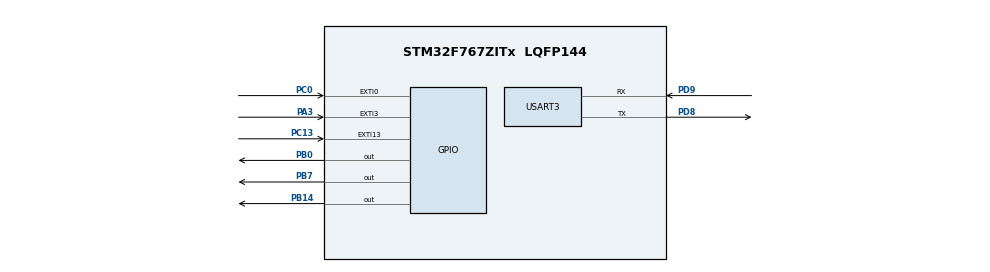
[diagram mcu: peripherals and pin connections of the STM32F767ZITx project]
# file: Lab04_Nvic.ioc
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CORTEX_M7.default_mode_Activation=1
Mcu.Family=STM32F7
Mcu.Name=STM32F767ZITx
Mcu.Package=LQFP144
NVIC.EXTI0_IRQn=true\:1\:1\:true\:false\:true\:true\:true\:true
NVIC.EXTI15_10_IRQn=true\:1\:0\:true\:false\:true\:true\:true\:true
NVIC.EXTI3_IRQn=true\:1\:1\:true\:false\:true\:true\:true\:true
NVIC.PriorityGroup=NVIC_PRIORITYGROUP_1
PA13.Mode=Serial_Wire
PA13.Signal=SYS_JTMS-SWDIO
PA14.Mode=Serial_Wire
PA14.Signal=SYS_JTCK-SWCLK
PA3.Signal=GPXTI3
PB0.Signal=GPIO_Output
PB14.Signal=GPIO_Output
PB7.Signal=GPIO_Output
PC0.Signal=GPXTI0
PC13.Signal=GPXTI13
PD8.Mode=Asynchronous
PD8.Signal=USART3_TX
PD9.Mode=Asynchronous
PD9.Signal=USART3_RX
ProjectManager.HeapSize=0x200
ProjectManager.StackSize=0x400
ProjectManager.TargetToolchain=STM32CubeIDE
RCC.HSE_VALUE=25000000
RCC.HSI_VALUE=16000000
RCC.LSE_VALUE=32768
RCC.USBFreq_Value=96000000
RCC.VCOOutputFreq_Value=192000000
USART3.VirtualMode-Asynchronous=VM_ASYNC
board=custom

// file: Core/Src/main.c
/* USER CODE BEGIN Header */
/**
  ******************************************************************************
  * @file           : main.c
  * @brief          : Main program body
  ******************************************************************************
  * @attention
  *
  * Copyright (c) 2026 STMicroelectronics.
  * All rights reserved.
  *
  * This software is licensed under terms that can be found in the LICENSE file
  * in the root directory of this software component.
  * If no LICENSE file comes with this software, it is provided AS-IS.
  *
  ******************************************************************************
  */
/* USER CODE END Header */
#include "main.h"
#include "usart.h"ห
#include "gpio.h"

void SystemClock_Config(void);
static void MPU_Config(void);

int main(void)
{

  /* MPU Configuration--------------------------------------------------------*/
  MPU_Config();

  /* MCU Configuration--------------------------------------------------------*/

  /* Reset of all peripherals, Initializes the Flash interface and the Systick. */
  HAL_Init();

  /* Configure the system clock */
  SystemClock_Config();

  /* Initialize all configured peripherals */
  MX_GPIO_Init();
  MX_USART3_UART_Init();

  /* Infinite loop */
  while (1)
  {
	  HAL_UART_Transmit(&huart3, (uint8_t *) ".", 1, 100);
	  HAL_Delay(400);

  }
}

void SystemClock_Config(void)
{
  RCC_OscInitTypeDef RCC_OscInitStruct = {0};
  RCC_ClkInitTypeDef RCC_ClkInitStruct = {0};

  /** Configure the main internal regulator output voltage
  */
  __HAL_RCC_PWR_CLK_ENABLE();
  __HAL_PWR_VOLTAGESCALING_CONFIG(PWR_REGULATOR_VOLTAGE_SCALE3);

  /** Initializes the RCC Oscillators according to the specified parameters
  * in the RCC_OscInitTypeDef structure.
  */
  RCC_OscInitStruct.OscillatorType = RCC_OSCILLATORTYPE_HSI;
  RCC_OscInitStruct.HSIState = RCC_HSI_ON;
  RCC_OscInitStruct.HSICalibrationValue = RCC_HSICALIBRATION_DEFAULT;
  RCC_OscInitStruct.PLL.PLLState = RCC_PLL_NONE;
  if (HAL_RCC_OscConfig(&RCC_OscInitStruct) != HAL_OK)
  {
    Error_Handler();
  }

  /** Initializes the CPU, AHB and APB buses clocks
  */
  RCC_ClkInitStruct.ClockType = RCC_CLOCKTYPE_HCLK|RCC_CLOCKTYPE_SYSCLK
                              |RCC_CLOCKTYPE_PCLK1|RCC_CLOCKTYPE_PCLK2;
  RCC_ClkInitStruct.SYSCLKSource = RCC_SYSCLKSOURCE_HSI;
  RCC_ClkInitStruct.AHBCLKDivider = RCC_SYSCLK_DIV1;
  RCC_ClkInitStruct.APB1CLKDivider = RCC_HCLK_DIV1;
  RCC_ClkInitStruct.APB2CLKDivider = RCC_HCLK_DIV1;

  if (HAL_RCC_ClockConfig(&RCC_ClkInitStruct, FLASH_LATENCY_0) != HAL_OK)
  {
    Error_Handler();
  }
}

/* USER CODE BEGIN 4 */
void HAL_GPIO_EXTI_Callback(uint16_t GPIO_Pin)
{
  if (GPIO_Pin == GPIO_PIN_13)
  {
    HAL_UART_Transmit(&huart3, (uint8_t *) "---", 3, 100);
    HAL_Delay(200);

    for (int i = 0; i < 20; i++)
    {
      HAL_UART_Transmit(&huart3, (uint8_t *) "B", 1, 100);
      HAL_Delay(200);
    }
  }
  else if (GPIO_Pin == GPIO_PIN_3)
  {
    HAL_GPIO_TogglePin(GPIOB, GPIO_PIN_7);   // LD2 — แทน PA0

    HAL_UART_Transmit(&huart3, (uint8_t *) "---", 3, 100);
    HAL_Delay(200);

    for (int i = 0; i < 20; i++)
    {
      HAL_UART_Transmit(&huart3, (uint8_t *) "E", 1, 100);
      HAL_Delay(200);
    }
  }
  else if (GPIO_Pin == GPIO_PIN_0)
  {
    HAL_GPIO_TogglePin(GPIOB, GPIO_PIN_14);  // LD3 — แทน PA5

    HAL_UART_Transmit(&huart3, (uint8_t *) "---", 3, 100);
    HAL_Delay(200);

    for (int i = 0; i < 20; i++)
    {
      HAL_UART_Transmit(&huart3, (uint8_t *) "5", 1, 100);
      HAL_Delay(200);
    }
  }
}
/* USER CODE END 4 */

 /* MPU Configuration */

void MPU_Config(void)
{
  MPU_Region_InitTypeDef MPU_InitStruct = {0};

  /* Disables the MPU */
  HAL_MPU_Disable();

  /** Initializes and configures the Region and the memory to be protected
  */
  MPU_InitStruct.Enable = MPU_REGION_ENABLE;
  MPU_InitStruct.Number = MPU_REGION_NUMBER0;
  MPU_InitStruct.BaseAddress = 0x0;
  MPU_InitStruct.Size = MPU_REGION_SIZE_4GB;
  MPU_InitStruct.SubRegionDisable = 0x87;
  MPU_InitStruct.TypeExtField = MPU_TEX_LEVEL0;
  MPU_InitStruct.AccessPermission = MPU_REGION_NO_ACCESS;
  MPU_InitStruct.DisableExec = MPU_INSTRUCTION_ACCESS_DISABLE;
  MPU_InitStruct.IsShareable = MPU_ACCESS_SHAREABLE;
  MPU_InitStruct.IsCacheable = MPU_ACCESS_NOT_CACHEABLE;
  MPU_InitStruct.IsBufferable = MPU_ACCESS_NOT_BUFFERABLE;

  HAL_MPU_ConfigRegion(&MPU_InitStruct);
  /* Enables the MPU */
  HAL_MPU_Enable(MPU_PRIVILEGED_DEFAULT);

}

void Error_Handler(void)
{
  __disable_irq();
  while (1)
  {
  }
}
